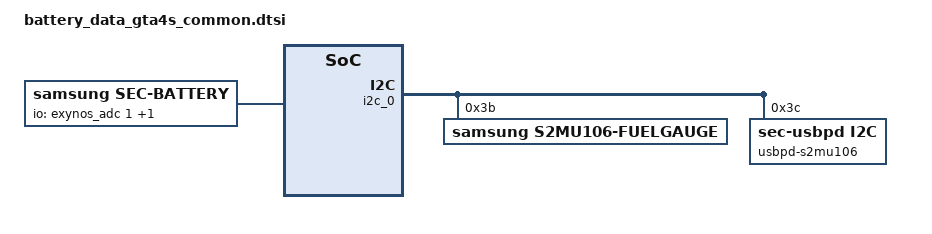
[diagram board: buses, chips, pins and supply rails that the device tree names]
/*
 * Tab A3 2019 Battery parameters device tree file for board IDs 04 and higher
 *
 * Copyright (C) 2017 Samsung Electronics, Inc.
 *
 * This program is free software; you can redistribute it and/or
 * modify it under the terms of the GNU General Public License
 * as published by the Free Software Foundation; either version 2
 * of the License, or (at your option) any later version.
 *
 * This program is distributed in the hope that it will be useful,
 * but WITHOUT ANY WARRANTY; without even the implied warranty of
 * MERCHANTABILITY or FITNESS FOR A PARTICULAR PURPOSE.  See the
 * GNU General Public License for more details.
 *
 * You should have received a copy of the GNU General Public License
 * along with this program. If not, see <http://www.gnu.org/licenses/>.
 *
 */

/ {
	fragment@battery {
		target-path = "/";
		__overlay__ {
			battery_params {
					battery,battery_data =
					<
						/***** battery data for 4.35 *****/
						/* battery,battery_table3 */
						241 10 108 10 239 9 123 9 11 9 
						162 8 62 8 229 7 150 7 35 7
						216 6 166 6 126 6 94 6 68 6 
						36 6 250 5 201 5 139 5 120 5 
						98 3 90 1 106 8 0 8 149 7 
						42 7 190 6 83 6 232 5 125 5 
						17 5 166 4 59 4 208 3 101 3 
						249 2 142 2 35 2 184 1 76 1 
						225 0 118 0 11 0 136 15

						/* battery,battery_table4 */
						10 10 10 10 54 54 54 54 54 54 
						54 54 55 55 55 56 56 57 59 63 
						76 101

						/* battery,batcap */
						0xC8 0x4B 0x28 0x0F /* [0x0E] [0x0F] [0x10] [0x11] */
						/* battery,accum */
						0x00 0x08 /* [0x44] [0x45] */

						/* battery,soc_arr_val */
						10518 10000 9476 8953 8429 7906 7382 6858 6334 5812 
						5288 4764 4241 3716 3194 2670 2147 1623 1099 576 
						52 (-587)

						/* battery,ocv_arr_val */
						43678 43029 42419 41849 41304 40790 40302 39869 39481 38923 
						38557 38311 38116 37959 37831 37674 37472 37233 36930 36837 
						34230 31690

						/* battery,tunning */
						0x00

						/***** battery data for 4.33 *****/
						/* battery,battery_table3 */
						233 10 108 10 239 9 123 9 11 9
						162 8 62 8 229 7 150 7 35 7
						216 6 166 6 126 6 94 6 68 6
						36 6 250 5 201 5 139 5 120 5
						98 3 90 1 118 8 11 8 159 7
						51 7 199 6 92 6 240 5 132 5
						24 5 173 4 65 4 213 3 105 3
						254 2 146 2 38 2 186 1 79 1
						227 0 119 0 11 0 136 15

						/* battery,battery_table4 */
						10 10 10 10 54 54 54 54 54 54
						54 54 55 55 56 56 56 57 59 63
						76 101

						/* battery,batcap */
						0x5C 0x4B 0x12 0x0F  /* [0x0E] [0x0F] [0x10] [0x11] */
						/* battery,accum */
						0x00 0x8 /* [0x44] [0x45] */

						/* battery,soc_arr_val */
						10578 10052 9525 8999 8473 7947 7421 6895 6369 5842
						5316 4790 4264 3738 3212 2686 2160 1633 1107 581
						55 (-584)
						/* battery,ocv_arr_val */
						43638 43028 42419 41849 41305 40789 40302 39869 39480 38923
						38557 38311 38115 37959 37830 37674 37472 37233 36929 36837
						34229 31691

						/* battery,tunning */
						0x00

						/***** battery data for 4.31 *****/
						/* battery,battery_table3 */
						233 10 108 10 239 9 123 9 11 9
						162 8 62 8 229 7 150 7 35 7
						216 6 166 6 126 6 94 6 68 6
						36 6 250 5 201 5 139 5 120 5
						98 3 90 1 159 8 49 8 195 7
						85 7 232 6 122 6 12 6 158 5
						49 5 195 4 85 4 231 3 122 3
						12 3 158 2 48 2 195 1 85 1
						231 0 121 0 12 0 136 15

						/* battery,battery_table4 */
						10 10 10 10 54 54 54 54 54 54
						54 54 55 55 56 56 56 57 59 63
						76 101

						/* battery,batcap */
						0xF8 0x49 0xCB 0x0E /* [0x0E] [0x0F] [0x10] [0x11] */
						/* battery,accum */
						0x00 0x8 /* [0x44] [0x45] */

						/* battery,soc_arr_val */
						10774 10238 9702 9166 8630 8094 7559 7023 6487 5951
						5415 4879 4343 3807 3271 2736 2200 1664 1128 592
						56 (-586)
						/* battery,ocv_arr_val */
						43638 43028 42419 41849 41305 40789 40302 39869 39480 38923
						38557 38311 38115 37959 37830 37674 37472 37233 36929 36837
						34229 31691

						/* battery,tunning */
						0x00

						/***** battery data for 4.29 *****/
						/* battery,battery_table3 */
						233 10 108 10 239 9 123 9 11 9
						162 8 62 8 229 7 150 7 35 7
						216 6 166 6 126 6 94 6 68 6
						36 6 250 5 201 5 139 5 120 5
						98 3 90 1 203 8 91 8 235 7
						123 7 11 7 155 6 43 6 187 5
						75 5 219 4 107 4 251 3 139 3
						27 3 171 2 60 2 204 1 92 1
						236 0 124 0 12 0 136 15

						/* battery,battery_table4 */
						10 10 10 10 54 54 54 54 54 54
						54 54 55 55 56 56 56 57 59 63
						76 101

						/* battery,batcap */
						0x84 0x48 0x80 0x0E /* [0x0E] [0x0F] [0x10] [0x11] */
						/* battery,accum */
						0x00 0x8 /* [0x44] [0x45] */

						/* battery,soc_arr_val */
						10990 10443 9897 9350 8803 8257 7710 7163 6617 6070
						5524 4977 4430 3884 3337 2790 2244 1697 1150 604
						57 (-588)
						/* battery,ocv_arr_val */
						43638 43028 42419 41849 41305 40789 40302 39869 39480 38923
						38557 38311 38115 37959 37830 37674 37472 37233 36929 36837
						34229 31691

						/* battery,tunning */
						0x00

						/***** battery data for 4.24 *****/
						/* battery,battery_table3 */
						233 10 108 10 239 9 123 9 11 9
						162 8 62 8 229 7 150 7 35 7
						216 6 166 6 126 6 94 6 68 6
						36 6 250 5 201 5 139 5 120 5
						98 3 90 1 54 9 192 8 75 8
						214 7 97 7 235 6 118 6 1 6
						139 5 22 5 161 4 44 4 182 3
						65 3 204 2 87 2 225 1 108 1
						247 0 130 0 12 0 136 15

						/* battery,battery_table4 */
						10 10 10 10 54 54 54 54 54 54
						54 54 55 55 56 56 56 57 59 63
						76 101

						/* battery,batcap */
						0x3C 0x45 0xD8 0x0D /* [0x0E] [0x0F] [0x10] [0x11] */
						/* battery,accum */
						0x00 0x8 /* [0x44] [0x45] */

						/* battery,soc_arr_val */
						11511 10939 10366 9793 9221 8648 8076 7503 6931 6358
						5786 5213 4640 4068 3495 2923 2350 1778 1205 632
						60 (-592)
						/* battery,ocv_arr_val */
						43638 43028 42419 41849 41305 40789 40302 39869 39480 38923
						38557 38311 38115 37959 37830 37674 37472 37233 36929 36837
						34229 31691

						/* battery,tunning */
						0x00
					>;

					battery,battery_table1 = <
							120 11 241 10 107 10 229 9 112 9
							1 9 152 8 41 8 195 7 134 7
							45 7 209 6 154 6 114 6 83 6
							58 6 29 6 246 5 193 5 145 5
							14 5 223 1 49 9 191 8 77 8
							219 7 105 7 247 6 132 6 19 6
							161 5 46 5 188 4 74 4 216 3
							102 3 244 2 130 2 16 2 158 1
							44 1 186 0 72 0 214 15
							>;

					battery,battery_table2 = <
							52 52 52 52 51 51 50 51 50 49
							50 50 51 52 54 56 60 64 73 87
							111 106
							>;

					battery,battery_table3 = <
							13 11 149 10 30 10 168 9 56 9
							207 8 113 8 5 8 187 7 97 7
							250 6 190 6 146 6 110 6 82 6
							53 6 18 6 233 5 180 5 136 5
							230 4 125 1 217 8 107 8 253 7
							144 7 34 7 180 6 71 6 217 5
							107 5 254 4 144 4 34 4 180 3
							71 3 217 2 107 2 254 1 144 1
							34 1 181 0 71 0 217 15
							>;

					battery,battery_table4 = <
							48 48 48 48 48 48 49 49 48 48
							49 49 49 49 50 50 50 50 51 52
							56 96
							>;

					battery,batcap = <0x4e 0x20 0x13 0x88>; /* [0x0F] [0x0E] [0x11] [0x10] */

					battery,soc_arr_evt1 = <
								11488 10931 10374 9818 9261 8704 8147 7591 7034 6477
								5920 5363 4807 4250 3693 3136 2580 2023 1466 910
								353 (-204)
								>;
					battery,ocv_arr_evt1 = <
								44335 43678 43021 42368 41795 41254 40740 40199 39701 39405
								38972 38521 38253 38059 37907 37785 37640 37452 37193 36957
								36319 32338
								>;

					battery,soc_arr_evt2 = <
								11059 10523 9987 9452 8916 8381 7845 7309 6774 6238
								5703 5167 4631 4096 3560 3025 2489 1953 1418 882
								347 (-189)
								>;
					battery,ocv_arr_evt2 = <
								43812 43230 42648 42069 41524 41009 40553 40025 39665 39223
								38722 38430 38213 38039 37900 37761 37586 37387 37128 36914
								36123 31861
								>;

					battery,FG_Accumulative_rate_evt2 = <0x00 0x8>; /* 0x44 0x45 */
			};

			pdic-manager {
				/* sink */
				pdic,max_power = <5000>;
				pdic,op_power = <2500>;
				pdic,max_voltage = <6000>;
				pdic,max_current = <2000>;
				pdic,min_current = <500>;

				pdic,giveback = <0>;
				pdic,usb_com_capable = <1>;
				pdic,no_usb_suspend = <1>;

				/* source */
				source,max_voltage = <5000>;
				source,min_voltage = <4000>;
				source,max_power = <2500>;

				/* sink cap */
				sink,capable_max_voltage = <9000>;

				/* VBUS CC short max input current */
				pdic,vb_cc_short_max_input_current = <1500>;
			};

			battery {
				status = "okay";
				compatible = "samsung,sec-battery";

				pinctrl-names = "default";

				battery,vendor = "Battery";
				battery,charger_name = "s2mu106-charger";
				battery,fuelgauge_name = "s2mu106-fuelgauge";
				battery,technology = <2>; /* POWER_SUPPLY_TECHNOLOGY_LION */
				battery,fgsrc_switch_name = "s2mu106-fuelgauge"; /* Fuelgauge voltage source */

				battery,chip_vendor = "LSI";
				battery,temp_adc_type = <1>; /* SEC_BATTERY_ADC_TYPE_AP */

				battery,temp_check_type = <2>; /* SEC_BATTERY_TEMP_CHECK_TEMP */
				battery,chg_temp_check = <1>;

				battery,thermal_source = <2>; /* SEC_BATTERY_THERMAL_SOURCE_ADC */
				battery,chg_thermal_source = <2>; /* SEC_CHARGER_THERMAL_SOURCE_FG */

				battery,polling_time = <10 30 30 30 3600>;

				battery,temp_table_adc = <
							311 368 421 493 575 670 783 922 961 992
							1022 1085 1151 1255 1320 1358 1396 1422 1461 1474
							1801 2214 2308 2404 2499 2592 2728 2860 2945 3071
							3109 3146 3184 3222 3343 3483 3597 3692
							>;
				battery,temp_table_data = <
							900 850 800 750 700 650 600 550 520 510
							500 480 460 430 410 400 390 370 350 330
							300 210 190 170 150 130 100 70 50 20
							10 0 (-10) (-20) (-50) (-100) (-150) (-200)
							>;

				battery,inbat_voltage = <1>;

				battery,inbat_voltage_table_adc = <
								2766 2755 2728 2698 2678 2649 2620 2598 2562 2532
								2508 2475 2448 2429 2401 2370 2348 2318 2288 2258
								>;
				battery,inbat_voltage_table_data = <
								4350 4300 4250 4200 4150 4100 4050 4000 3950 3900
								3850 3800 3750 3700 3650 3600 3550 3500 3450 3400
								>;

				battery,adc_check_count = <5>;

				battery,cable_check_type = <4>; /* SEC_BATTERY_CABLE_CHECK_PSY */
				battery,cable_source_type = <1>; /* SEC_BATTERY_CABLE_SOURCE_EXTERNAL */
				battery,polling_type = <1>; /* SEC_BATTERY_MONITOR_ALARM */
				battery,monitor_initial_count = <0>;

				battery,pre_afc_input_current = <500>;
				battery,prepare_afc_delay = <0>;

				battery,battery_check_type = <0>; /* SEC_BATTERY_CHECK_NONE */
				battery,check_count = <0>;

				battery,ovp_uvlo_check_type = <3>; /* SEC_BATTERY_OVP_UVLO_CHGPOLLING */

				battery,temp_check_count = <2>;
				battery,temp_highlimit_threshold_event = <800>;
				battery,temp_highlimit_recovery_event = <750>;
				battery,temp_high_threshold_event = <500>;
				battery,temp_high_recovery_event = <480>;
				battery,temp_low_threshold_event = <0>;
				battery,temp_low_recovery_event = <20>;
				battery,temp_highlimit_threshold_normal = <800>;
				battery,temp_highlimit_recovery_normal = <750>;
				battery,temp_high_threshold_normal = <500>;
				battery,temp_high_recovery_normal = <480>;
				battery,temp_low_threshold_normal = <0>;
				battery,temp_low_recovery_normal = <20>;
				battery,temp_highlimit_threshold_lpm = <800>;
				battery,temp_highlimit_recovery_lpm = <750>;
				battery,temp_high_threshold_lpm = <500>;
				battery,temp_high_recovery_lpm = <480>;
				battery,temp_low_threshold_lpm = <0>;
				battery,temp_low_recovery_lpm = <20>;
				battery,wpc_high_threshold_normal = <450>;
				battery,wpc_high_recovery_normal = <400>;
				battery,wpc_low_threshold_normal = <0>;
				battery,wpc_low_recovery_normal = <20>;

				battery,full_check_type = <2>; /* SEC_BATTERY_FULLCHARGED_FG_CURRENT */
				battery,full_check_type_2nd = <2>; /* SEC_BATTERY_FULLCHARGED_FG_CURRENT */
				battery,full_check_count = <1>;
				battery,chg_gpio_full_check = <0>;
				battery,chg_polarity_full_check = <1>;

				battery,chg_heating_prevention_method = <1>; /* SEC_BATTERY_BY_CHANGING_CURRENT */
				battery,chg_high_temp = <570>;
				battery,chg_high_temp_recovery = <440>;
				battery,chg_input_limit_current = <1000>;
				battery,chg_charging_limit_current = <1250>; 

				battery,mix_high_temp = <420>;
				battery,mix_high_chg_temp = <570>;
				battery,mix_high_temp_recovery = <390>;
				
				/* SEC_BATTERY_FULL_CONDITION_SOC |
				* SEC_BATTERY_FULL_CONDITION_NOTIMEFULL |
				* SEC_BATTERY_FULL_CONDITION_VCELL
				*/
				battery,full_condition_type = <13>;
				battery,full_condition_soc = <93>;
				battery,full_condition_vcell = <4250>;

				battery,recharge_check_count = <1>;
				battery,recharge_condition_type = <4>; /* SEC_BATTERY_RECHARGE_CONDITION_VCELL */
				battery,recharge_condition_soc = <98>;
				battery,recharge_condition_vcell = <4280>;

				battery,charging_total_time = <14400>;
				battery,hv_charging_total_time = <10800>;
				battery,normal_charging_total_time = <18000>;
				battery,usb_charging_total_time = <36000>;
				battery,recharging_total_time = <5400>;
				battery,charging_reset_time = <0>;

				battery,chg_float_voltage = <4350>;

				battery,swelling_high_temp_block = <410>;
				battery,swelling_high_temp_recov = <390>;
				battery,swelling_wc_high_temp_recov = <390>;
				battery,swelling_low_temp_block_1st = <150>;
				battery,swelling_low_temp_recov_1st = <200>;
				battery,swelling_low_temp_block_2nd = <50>;
				battery,swelling_low_temp_recov_2nd = <100>;

				battery,swelling_low_temp_current = <950>;	/* 0.3C */
				battery,swelling_low_temp_current_2nd = <450>;
				battery,swelling_low_temp_topoff = <250>;	/* 0.05C */
				battery,swelling_high_temp_current = <1400>;	/* 0.45C */
				battery,swelling_high_temp_topoff = <250>;	/* 0.05C */
				battery,swelling_wc_high_temp_current = <950>;	/* 0.3C */
				battery,swelling_wc_low_temp_current = <950>;	/* 0.3C */

				battery,swelling_drop_float_voltage = <4150>;
				battery,swelling_high_rechg_voltage = <4000>;
				battery,swelling_low_rechg_voltage = <4000>;

				battery,siop_event_check_type = <1>;
				battery,siop_call_cv_current = <330>;
				battery,siop_call_cc_current = <330>;

				battery,siop_input_limit_current = <1200>;
				battery,siop_charging_limit_current = <1000>;
				battery,siop_hv_input_limit_current = <700>;
				battery,siop_hv_charging_limit_current = <1000>;

				battery,pd_charging_charge_power = <15000>;
				battery,max_charging_current = <2450>;
				battery,slow_charging_current = <1000>;
				battery,battery_full_capacity = <5000>;

				/* cycle, chg_float_voltage, recharge_condition_vcell, full_condition_vcell, full_condition_soc */
				battery,age_data = <0 4350 4280 4250 93	/*4.35*/
						300 4330 4260 4230 92	/*4.33*/
						400 4310 4240 4210 91	/*4.31*/
						700 4290 4220 4190 90	/*4.29*/
						1000 4240 4170 4140 89	/*4.24*/
						>;

				battery,max_input_voltage = <9000>; /* mV */
				battery,max_input_current = <3000>;  /* mA */

				battery,standard_curr = <2450>;
				battery,expired_time = <14100>; /* 165 + 70 minutes */
				battery,recharging_expired_time = <5400>;

				battery,cisd_alg_index = <7>;
				battery,cisd_max_voltage_thr = <5000>; /* battery ovp detection voltage */

				battery,enable_water_resistance;
				battery,recovery_cable;
				battery,lowtemp_support_full_volt;

				io-channels = <&exynos_adc 1>, <&exynos_adc 2>;
				io-channel-names = "adc-temp", "adc-in-bat";
				#io-channel-cells = <5>;
				io-channel-ranges;
				battery,ttf_hv_charge_current = <2250>;
				battery,ttf_capacity = <4515>;
				battery,cv_data = <
							1735	820		1948
							1598	832		1873
							1479	842		1811
							1394	850		1765
							1208	867		1629
							1102	877		1552
							1045	882		1510
							912		895		1387
							815		905		1293
							747		913		1208
							711		923		1096
							661		938		912
							618		949		749
							590		956		648
							572		960		591
							484		977		313
							476		981		252
							471		992		114
							466		1000	0
							>;
			};

	/* sec_battery_cable
	 *   0	UNKNOWN,
	 *   1	NONE,
	 *   2	PREPARE_TA,
	 *   3	TA,
	 *   4	USB,
	 *   5	USB_CDP,
	 *   6	9V_TA,
	 *   7	9V_ERR,
	 *   8	9V_UNKNOWN,
	 *   9	12V_TA,
	 *  10	WIRELESS,
	 *  11	HV_WIRELESS,
	 *  12	PMA_WIRELESS,
	 *  13	WIRELESS_PACK,
	 *  14	WIRELESS_PACK_TA,
	 *  15	WIRELESS_STAND,
	 *  16	WIRELESS_HV_STAND,
	 *  17	QC20,
	 *  18	QC30,
	 *  19	PDIC,
	 *  20	UARTOFF,
	 *  21	OTG,
	 *  22	LAN_HUB,
	 *  23	POWER_SHARING,
	 *  24	HMT_CONNECTED,
	 *  25	HMT_CHARGE,
	 *  26	HV_TA_CHG_LIMIT,
	 *  27	WIRELESS_VEHICLE,
	 *  28	WIRELESS_HV_VEHICLE,
	 *  29	PREPARE_WIRELESS_HV,
	 *  30	TIMEOUT,
	 *  31	CABLE_MAX,
	 */
			cable-info {
				default_input_current = <1500>;
				default_charging_current = <1550>;
				full_check_current_1st = <485>;
				full_check_current_2nd = <250>;

				current_group_1 {
					cable_number = <1 4 19 21 22 23 30>;
					input_current = <500>;
					charging_current = <500>;
				};

				current_group_2 {
					cable_number = <2 25>;
					input_current = <1000>;
					charging_current = <1000>;
				};

				current_group_3 {
					cable_number = <5>;
					input_current = <1500>;
					charging_current = <1500>;
				};

				current_group_4 {
					cable_number = <6 7 8>;
					input_current = <1600>;
					charging_current = <2450>;
				};

				current_group_5 {
					cable_number = <9>;
					input_current = <1600>;
					charging_current = <2450>;
				};

				current_group_6 {
					cable_number = <10 12 14 15 27>;
					input_current = <900>;
					charging_current = <1200>;
				};

				current_group_7 {
					cable_number = <13>;
					input_current = <700>;
					charging_current = <1200>;
				};

				current_group_8 {
					cable_number = <24>;
					input_current = <1000>;
					charging_current = <450>;
				};

				current_group_9 {
					cable_number = <26>;
					input_current = <2000>;
					charging_current = <1800>;
				};

				current_group_10 {
					cable_number = <11 16 28>;
					input_current = <650>;
					charging_current = <1200>;
				};

				current_group_11 {
					cable_number = <29>;
					input_current = <500>;
					charging_current = <1200>;
				};
			};

			s2mu106-charger {
				status = "disable";
				compatible = "samsung,s2mu106-charger";
			};
		};
	};
};

&pinctrl_0 {
	fuel_irq: fuel-irq {
		samsung,pins = "gpa2-4";
		samsung,pin-function = <0>;
		samsung,pin-pud = <2>;
		samsung,pin-drv = <0>;
	};

	if_pmic_irq: if-pmic-irq {
		samsung,pins = "gpa2-2";
		samsung,pin-function = <0>;
		samsung,pin-pud = <0>;
		samsung,pin-drv = <0>;
	};
	
	usbpd_irq: usbpd-irq {
		samsung,pins = "gpa2-3";
		samsung,pin-function = <0x0f>;
		samsung,pin-pud = <0>;
		samsung,pin-drv = <0>;
	};
};

&i2c_0 {
	i2c-gpio,delay-us = <5>;
	status = "okay";
	s2mu106-fuelgauge@3B {
		compatible = "samsung,s2mu106-fuelgauge";
		reg = <0x3B>;
		pinctrl-names = "default";
		pinctrl-0 = <&fuel_irq>;
		fuelgauge,fuel_int = <&gpa2 4 0>;
		fuelgauge,fuel_alert_soc = <1>;
		fuelgauge,fuel_alert_vol = <3300>;
		fuelgauge,low_temp_limit = <100>;
		fuelgauge,sw_vbat_l_recovery_vol = <3465>;
		fuelgauge,capacity_max = <1000>;
		fuelgauge,capacity_max_margin = <200>;
		fuelgauge,capacity_min = <0>;
		fuelgauge,capacity_calculation_type = <28>;
		fuelgauge,capacity_full = <5000>;
		fuelgauge,type_str = "SDI";
		fuelgauge,model_type = <1>;
		fuelgauge,fg_log_enable = <1>;
	};
	
	usbpd-s2mu106@3C {
		compatible = "sec-usbpd,i2c";
		reg = <0x3C>;
		pinctrl-names = "default";
		pinctrl-0     = <&usbpd_irq>;
		usbpd,usbpd_int = <&gpa2 3 0>;
	};
};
